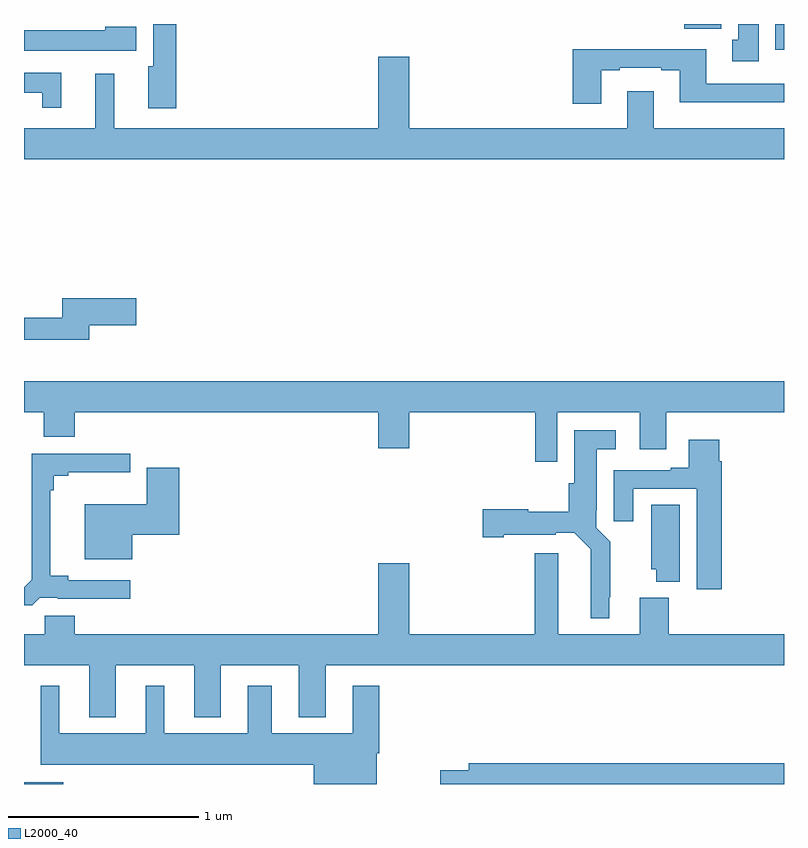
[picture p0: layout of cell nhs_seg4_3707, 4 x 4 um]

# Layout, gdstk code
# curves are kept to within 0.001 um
import gdstk
lib = gdstk.Library(unit=1e-6, precision=1e-09)
def R(c, l, rs):  # rectangles x0, y0, x1, y1
    for r in rs: c.add(gdstk.rectangle(r[:2], r[2:], *l))
def P(c, l, *ps):  # polygons
    for p in ps: c.add(gdstk.Polygon(p, *l))
L2000_40 = (2000, 40)

nhs_seg4_3707 = lib.new_cell('nhs_seg4_3707')
R(nhs_seg4_3707, L2000_40, [(307,758.9,307.207,758.908), (310.955,762.764,311,762.9), (310.475,762.876,310.671,762.9)])
P(nhs_seg4_3707, L2000_40, [(307.802,762.9),(307.679,762.9),(307.679,762.678),(307.655,762.678),(307.655,762.456),(307.802,762.456)],
  [(310.867,762.9),(310.76,762.9),(310.76,762.817),(310.727,762.817),(310.727,762.705),(310.867,762.705)],
  [(307.591,762.886),(307.428,762.886),(307.428,762.868),(307,762.868),(307,762.758),(307.591,762.758)],
  [(310.039,762.657),(310.135,762.657),(310.135,762.669),(310.355,762.669),(310.355,762.657),(310.451,762.657),(310.451,762.488),(311,762.488),(311,762.585),(310.591,762.585),(310.591,762.766),(309.887,762.766),(309.887,762.48),(310.039,762.48)],
  [(308.864,762.727),(308.864,762.352),(307.475,762.352),(307.475,762.637),(307.376,762.637),(307.376,762.352),(307,762.352),(307,762.188),(311,762.188),(311,762.352),(310.315,762.352),(310.315,762.547),(310.175,762.547),(310.175,762.352),(309.028,762.352),(309.028,762.727)],
  [(307.196,762.643),(307,762.643),(307,762.539),(307.097,762.539),(307.097,762.459),(307.196,762.459)],
  [(307.343,761.314),(307.591,761.314),(307.591,761.456),(307.202,761.456),(307.202,761.354),(307,761.354),(307,761.237),(307.343,761.237)],
  [(309.807,760.856),(310.241,760.856),(310.241,760.662),(310.381,760.662),(310.381,760.856),(311,760.856),(311,761.02),(307,761.02),(307,760.856),(307.103,760.856),(307.103,760.728),(307.267,760.728),(307.267,760.856),(308.864,760.856),(308.864,760.668),(309.028,760.668),(309.028,760.856),(309.691,760.856),(309.691,760.596),(309.807,760.596)],
  [(310.081,759.883),(310.085,759.883),(310.085,760.174),(310.011,760.248),(310.011,760.342),(310.015,760.342),(310.015,760.661),(310.114,760.661),(310.114,760.762),(309.896,760.762),(309.896,760.482),(309.866,760.482),(309.866,760.333),(309.654,760.333),(309.654,760.346),(309.414,760.346),(309.414,760.199),(309.526,760.199),(309.526,760.211),(309.798,760.211),(309.798,760.223),(309.897,760.223),(309.984,760.136),(309.983,759.773),(310.081,759.773)],
  [(310.673,760.598),(310.66,760.598),(310.66,760.711),(310.499,760.711),(310.499,760.564),(310.403,760.564),(310.403,760.551),(310.103,760.551),(310.103,760.284),(310.207,760.284),(310.207,760.455),(310.541,760.455),(310.541,759.924),(310.673,759.924)],
  [(307.083,759.879),(307.177,759.879),(307.177,759.875),(307.558,759.875),(307.558,759.972),(307.234,759.972),(307.234,759.995),(307.139,759.995),(307.139,760.445),(307.157,760.445),(307.157,760.522),(307.234,760.522),(307.234,760.541),(307.558,760.541),(307.558,760.638),(307.041,760.638),(307.041,759.975),(307.002,759.936),(307,759.936),(307,759.84),(307.043,759.84)],
  [(307.57,760.211),(307.817,760.211),(307.817,760.564),(307.646,760.564),(307.646,760.372),(307.319,760.372),(307.319,760.082),(307.57,760.082)],
  [(310.45,760.37),(310.301,760.37),(310.301,760.029),(310.328,760.029),(310.328,759.965),(310.45,759.965)],
  [(307.483,759.524),(307.895,759.524),(307.895,759.251),(308.035,759.251),(308.035,759.524),(308.447,759.524),(308.447,759.251),(308.587,759.251),(308.587,759.524),(311,759.524),(311,759.688),(310.394,759.688),(310.394,759.88),(310.241,759.88),(310.241,759.688),(309.811,759.688),(309.811,760.114),(309.689,760.114),(309.689,759.688),(309.028,759.688),(309.028,760.063),(308.864,760.063),(308.864,759.688),(307.268,759.688),(307.268,759.786),(307.108,759.786),(307.108,759.688),(307,759.688),(307,759.524),(307.343,759.524),(307.343,759.251),(307.483,759.251)],
  [(308.857,759.062),(308.87,759.062),(308.87,759.418),(308.729,759.418),(308.729,759.166),(308.305,759.166),(308.305,759.418),(308.177,759.418),(308.177,759.166),(307.738,759.166),(307.738,759.418),(307.64,759.418),(307.64,759.166),(307.186,759.166),(307.186,759.418),(307.088,759.418),(307.088,759.002),(308.525,759.002),(308.525,758.9),(308.857,758.9)],
  [(311,759.008),(309.341,759.008),(309.341,758.972),(309.192,758.972),(309.192,758.9),(311,758.9)])

lib.write_gds('nhs_seg4_3707.gds')
